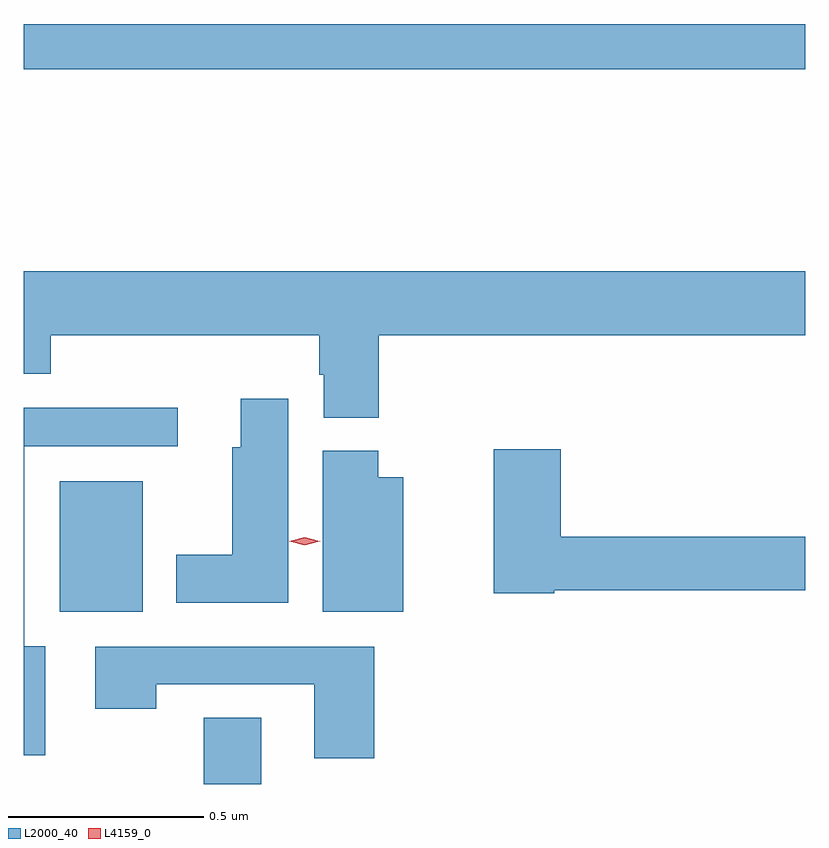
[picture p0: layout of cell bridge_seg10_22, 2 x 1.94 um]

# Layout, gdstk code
import gdstk
lib = gdstk.Library(unit=1e-6, precision=1e-09)
def R(c, l, rs):  # rectangles x0, y0, x1, y1
    for r in rs: c.add(gdstk.rectangle(r[:2], r[2:], *l))
def P(c, l, *ps):  # polygons
    for p in ps: c.add(gdstk.Polygon(p, *l))
L2000_40 = (2000, 40)
L4159_0 = (4159, 0)

bridge_seg10_22 = lib.new_cell('bridge_seg10_22')
R(bridge_seg10_22, L2000_40, [(1013.086,1248.552,1013.233,1248.722), (1012.718,1248.992,1012.93,1249.327), (1012.625,1250.38,1014.625,1250.496)])
P(bridge_seg10_22, L2000_40, [(1013.534,1249.7),(1014.625,1249.7),(1014.625,1249.864),(1012.625,1249.864),(1012.625,1249.601),(1012.694,1249.601),(1012.694,1249.7),(1013.381,1249.7),(1013.381,1249.599),(1013.393,1249.599),(1013.393,1249.489),(1013.534,1249.489)],
  [(1013.302,1249.537),(1013.18,1249.537),(1013.18,1249.413),(1013.159,1249.413),(1013.159,1249.138),(1013.015,1249.138),(1013.015,1249.016),(1013.302,1249.016)],
  [(1012.681,1248.904),(1012.627,1248.904),(1012.627,1249.416),(1013.02,1249.416),(1013.02,1249.514),(1012.625,1249.514),(1012.625,1248.626),(1012.681,1248.626)],
  [(1013.982,1249.048),(1014.625,1249.048),(1014.625,1249.184),(1013.999,1249.184),(1013.999,1249.408),(1013.828,1249.408),(1013.828,1249.04),(1013.982,1249.04)],
  [(1013.596,1249.336),(1013.532,1249.336),(1013.532,1249.404),(1013.39,1249.404),(1013.39,1248.992),(1013.596,1248.992)],
  [(1013.522,1248.903),(1012.809,1248.903),(1012.809,1248.744),(1012.965,1248.744),(1012.965,1248.807),(1013.369,1248.807),(1013.369,1248.618),(1013.522,1248.618)])
P(bridge_seg10_22, L4159_0, [(1013.344,1249.163),(1013.305,1249.173),(1013.305,1249.173),(1013.305,1249.173),(1013.344,1249.183),(1013.383,1249.173),(1013.384,1249.173),(1013.383,1249.173)])

lib.write_gds('bridge_seg10_22.gds')
